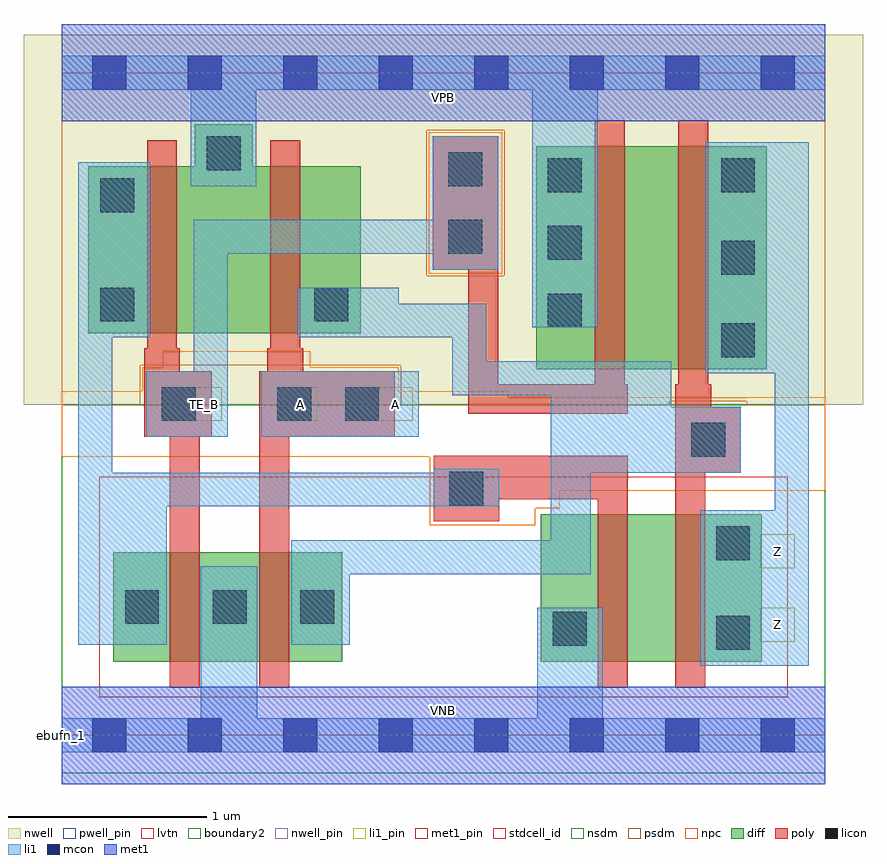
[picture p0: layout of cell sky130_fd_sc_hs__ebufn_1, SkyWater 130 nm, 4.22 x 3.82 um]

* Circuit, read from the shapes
.subckt sky130_fd_sc_hs__ebufn_1 A TE_B VGND VNB VPB VPWR Z
XM1 VGND TE_B n1 VNB sky130_fd_pr__nfet_01v8_lvt w=0.55 l=0.15
XM2 n2 A VGND VNB sky130_fd_pr__nfet_01v8_lvt w=0.55 l=0.15
XM3 n3 n1 VGND VNB sky130_fd_pr__nfet_01v8_lvt w=0.74 l=0.15
XM4 Z n2 n3 VNB sky130_fd_pr__nfet_01v8_lvt w=0.74 l=0.15
XM5 VPWR TE_B n1 VPB sky130_fd_pr__pfet_01v8 w=0.84 l=0.15
XM6 n2 A VPWR VPB sky130_fd_pr__pfet_01v8 w=0.84 l=0.15
XM7 n4 TE_B VPWR VPB sky130_fd_pr__pfet_01v8 w=1.12 l=0.15
XM8 Z n2 n4 VPB sky130_fd_pr__pfet_01v8 w=1.12 l=0.15
.ends

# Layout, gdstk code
import gdstk
lib = gdstk.Library(unit=1e-6, precision=1e-09)
def R(c, l, rs):  # rectangles x0, y0, x1, y1
    for r in rs: c.add(gdstk.rectangle(r[:2], r[2:], *l))
def A(c, l, x, y, w, h, nx, ny, dx, dy):  # array of equal rectangles
    R(c, l, [(x+i*dx, y+j*dy, x+i*dx+w, y+j*dy+h) for i in range(nx) for j in range(ny)])
def P(c, l, *ps):  # polygons
    for p in ps: c.add(gdstk.Polygon(p, *l))
nwell_pin = (64, 16)
nwell = (64, 20)
diff = (65, 20)
poly = (66, 20)
licon = (66, 44)
li1_pin = (67, 16)
li1 = (67, 20)
mcon = (67, 44)
met1_pin = (68, 16)
met1 = (68, 20)
stdcell_id = (81, 4)
nsdm = (93, 44)
psdm = (94, 20)
npc = (95, 20)
pwell_pin = (122, 16)
lvtn = (125, 44)
boundary2 = (236, 0)

sky130_fd_sc_hs__ebufn_1 = lib.new_cell('sky130_fd_sc_hs__ebufn_1')
R(sky130_fd_sc_hs__ebufn_1, nwell_pin, [(0,3.085,3.84,3.33)])
R(sky130_fd_sc_hs__ebufn_1, nwell, [(-0.19,1.66,4.03,3.52)])
R(sky130_fd_sc_hs__ebufn_1, diff, [(0.26,0.37,1.41,0.92), (2.41,0.37,3.52,1.11), (2.385,1.84,3.545,2.96)])
P(sky130_fd_sc_hs__ebufn_1, diff, [(1.505,2.86),(0.96,2.86),(0.96,3.07),(0.67,3.07),(0.67,2.86),(0.135,2.86),(0.135,2.02),(1.505,2.02)])
P(sky130_fd_sc_hs__ebufn_1, poly, [(3.415,1.65),(3.265,1.65),(3.265,1.765),(3.25,1.765),(3.25,3.09),(3.1,3.09),(3.1,1.765),(3.085,1.765),(3.085,0.24),(3.235,0.24),(3.235,1.32),(3.415,1.32)],
  [(2.845,1.405),(1.87,1.405),(1.87,1.075),(2.2,1.075),(2.2,1.185),(2.695,1.185),(2.695,0.24),(2.845,0.24)],
  [(2.845,1.765),(2.83,1.765),(2.83,3.09),(2.68,3.09),(2.68,1.765),(2.195,1.765),(2.195,3.01),(1.865,3.01),(1.865,2.34),(2.045,2.34),(2.045,1.615),(2.845,1.615)],
  [(1.675,1.83),(1.215,1.83),(1.215,1.945),(1.2,1.945),(1.2,2.99),(1.05,2.99),(1.05,1.945),(1.035,1.945),(1.035,1.83),(0.995,1.83),(0.995,0.24),(1.145,0.24),(1.145,1.5),(1.675,1.5)],
  [(0.755,1.83),(0.595,1.83),(0.595,1.945),(0.58,1.945),(0.58,2.99),(0.43,2.99),(0.43,1.945),(0.415,1.945),(0.415,1.5),(0.545,1.5),(0.545,0.24),(0.695,0.24),(0.695,1.5),(0.755,1.5)])
A(sky130_fd_sc_hs__ebufn_1, licon, 0.32, 0.56, 0.17, 0.17, 3, 1, 0.44, 0)
A(sky130_fd_sc_hs__ebufn_1, licon, 3.315, 1.9, 0.17, 0.17, 1, 3, 0, 0.415)
A(sky130_fd_sc_hs__ebufn_1, licon, 2.445, 2.05, 0.17, 0.17, 1, 3, 0, 0.34)
R(sky130_fd_sc_hs__ebufn_1, licon, [(3.29,0.43,3.46,0.6), (2.47,0.45,2.64,0.62), (3.29,0.88,3.46,1.05), (1.95,1.155,2.12,1.325), (3.165,1.4,3.335,1.57), (0.505,1.58,0.675,1.75), (1.085,1.58,1.255,1.75), (1.425,1.58,1.595,1.75), (0.195,2.08,0.365,2.25), (1.27,2.08,1.44,2.25), (1.945,2.42,2.115,2.59), (0.195,2.63,0.365,2.8), (1.945,2.76,2.115,2.93), (0.73,2.84,0.9,3.01)])
A(sky130_fd_sc_hs__ebufn_1, li1_pin, 0.635, 1.58, 0.17, 0.17, 3, 1, 0.48, 0)
R(sky130_fd_sc_hs__ebufn_1, li1_pin, [(3.515,0.47,3.685,0.64), (3.515,0.84,3.685,1.01)])
R(sky130_fd_sc_hs__ebufn_1, li1, [(1.005,1.5,1.795,1.83)])
P(sky130_fd_sc_hs__ebufn_1, li1, [(3.84,0.085),(2.72,0.085),(2.72,0.64),(2.39,0.64),(2.39,0.085),(0.985,0.085),(0.985,0.85),(0.7,0.85),(0.7,0.085),(0,0.085),(0,-0.085),(3.84,-0.085)],
  [(3.755,2.98),(3.235,2.98),(3.235,1.82),(3.585,1.82),(3.585,1.13),(3.21,1.13),(3.21,0.35),(3.755,0.35)],
  [(2.195,3.01),(1.865,3.01),(1.865,2.59),(0.665,2.59),(0.665,1.83),(0.425,1.83),(0.425,1.5),(0.835,1.5),(0.835,2.42),(1.865,2.42),(1.865,2.34),(2.195,2.34)],
  [(3.84,3.415),(0,3.415),(0,3.245),(0.65,3.245),(0.65,2.76),(0.98,2.76),(0.98,3.245),(2.365,3.245),(2.365,2.05),(2.695,2.05),(2.695,3.245),(3.84,3.245)],
  [(2.2,1.34),(1.87,1.34),(1.87,1.32),(0.255,1.32),(0.255,2),(0.445,2),(0.445,2.88),(0.085,2.88),(0.085,0.455),(0.53,0.455),(0.53,1.15),(2.2,1.15)],
  [(3.415,1.65),(3.065,1.65),(3.065,1.88),(2.135,1.88),(2.135,2.17),(1.695,2.17),(1.695,2.25),(1.185,2.25),(1.185,2),(1.965,2),(1.965,1.71),(2.46,1.71),(2.46,0.98),(1.155,0.98),(1.155,0.455),(1.45,0.455),(1.45,0.81),(2.66,0.81),(2.66,1.32),(3.415,1.32)])
A(sky130_fd_sc_hs__ebufn_1, mcon, 0.155, -0.085, 0.17, 0.17, 8, 2, 0.48, 3.33)
R(sky130_fd_sc_hs__ebufn_1, met1_pin, [(0,0,3.84,0.245), (0,3.085,3.84,3.33)])
R(sky130_fd_sc_hs__ebufn_1, met1, [(0,-0.245,3.84,0.245), (0,3.085,3.84,3.575)])
R(sky130_fd_sc_hs__ebufn_1, stdcell_id, [(0,0,3.84,3.33)])
R(sky130_fd_sc_hs__ebufn_1, nsdm, [(0,-0.19,3.84,1.66)])
P(sky130_fd_sc_hs__ebufn_1, psdm, [(3.84,3.52),(2.225,3.52),(2.225,2.31),(1.835,2.31),(1.835,3.04),(2.225,3.04),(2.225,3.52),(0,3.52),(0,1.66),(0.395,1.66),(0.395,1.86),(1.705,1.86),(1.705,1.66),(3.055,1.66),(3.055,1.68),(3.445,1.68),(3.445,1.66),(3.84,1.66)])
R(sky130_fd_sc_hs__ebufn_1, npc, [(1.845,2.32,2.215,3.03)])
P(sky130_fd_sc_hs__ebufn_1, npc, [(3.84,1.7),(2.245,1.7),(2.245,1.73),(1.695,1.73),(1.695,1.85),(1.25,1.85),(1.25,1.93),(0.51,1.93),(0.51,1.85),(0.405,1.85),(0.405,1.73),(0,1.73),(0,1.4),(1.85,1.4),(1.85,1.055),(2.38,1.055),(2.38,1.14),(2.505,1.14),(2.505,1.23),(3.84,1.23)])
R(sky130_fd_sc_hs__ebufn_1, pwell_pin, [(0,0,3.84,0.245)])
R(sky130_fd_sc_hs__ebufn_1, lvtn, [(0.19,0.19,3.65,1.3)])
R(sky130_fd_sc_hs__ebufn_1, boundary2, [(0,0,3.84,3.33)])
sky130_fd_sc_hs__ebufn_1.add(gdstk.Label('ebufn_1', (0,0), layer=83, texttype=44))
sky130_fd_sc_hs__ebufn_1.add(gdstk.Label('VNB', (1.92,0.123), layer=64, texttype=59))
sky130_fd_sc_hs__ebufn_1.add(gdstk.Label('VPB', (1.92,3.208), layer=64, texttype=5))
sky130_fd_sc_hs__ebufn_1.add(gdstk.Label('VPWR', (1.92,3.208), layer=68, texttype=5))
sky130_fd_sc_hs__ebufn_1.add(gdstk.Label('VGND', (1.92,0.123), layer=68, texttype=5))
sky130_fd_sc_hs__ebufn_1.add(gdstk.Label('A', (1.2,1.665), layer=67, texttype=5))
sky130_fd_sc_hs__ebufn_1.add(gdstk.Label('A', (1.68,1.665), layer=67, texttype=5))
sky130_fd_sc_hs__ebufn_1.add(gdstk.Label('Z', (3.6,0.555), layer=67, texttype=5))
sky130_fd_sc_hs__ebufn_1.add(gdstk.Label('Z', (3.6,0.925), layer=67, texttype=5))
sky130_fd_sc_hs__ebufn_1.add(gdstk.Label('TE_B', (0.72,1.665), layer=67, texttype=5))

lib.write_gds('sky130_fd_sc_hs__ebufn_1.gds')
